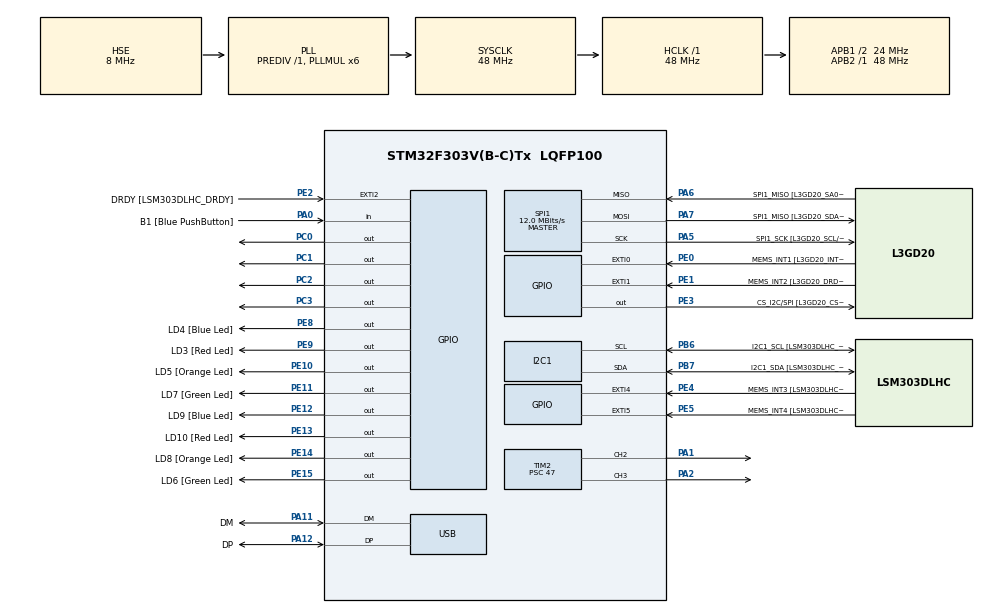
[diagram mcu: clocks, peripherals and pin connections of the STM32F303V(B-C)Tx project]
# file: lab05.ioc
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I2C1.Timing=0x00201D2B
I2C1.Timing-I2C=0x2000090E
Mcu.Family=STM32F3
Mcu.Name=STM32F303V(B-C)Tx
Mcu.Package=LQFP100
NVIC.PriorityGroup=NVIC_PRIORITYGROUP_0
PA0.GPIO_Label=B1 [Blue PushButton]
PA0.Signal=GPIO_Input
PA1.Signal=S_TIM2_CH2
PA11.GPIO_Label=DM
PA11.Mode=Device
PA11.Signal=USB_DM
PA12.GPIO_Label=DP
PA12.Mode=Device
PA12.Signal=USB_DP
PA13.GPIO_Label=SWDIO
PA13.Mode=Serial_Wire
PA13.Signal=SYS_JTMS-SWDIO
PA14.GPIO_Label=SWCLK
PA14.Mode=Serial_Wire
PA14.Signal=SYS_JTCK-SWCLK
PA2.Signal=S_TIM2_CH3
PA5.GPIO_Label=SPI1_SCK [L3GD20_SCL/SPC]
PA5.Mode=Full_Duplex_Master
PA5.Signal=SPI1_SCK
PA6.GPIO_Label=SPI1_MISO [L3GD20_SA0/SDO]
PA6.Mode=Full_Duplex_Master
PA6.Signal=SPI1_MISO
PA7.GPIO_Label=SPI1_MISO [L3GD20_SDA/SDI/SDO]
PA7.Mode=Full_Duplex_Master
PA7.Signal=SPI1_MOSI
PB3.GPIO_Label=SWO
PB3.Signal=SYS_JTDO-TRACESWO
PB6.GPIO_Label=I2C1_SCL [LSM303DLHC_SCL]
PB6.GPIO_Pu=GPIO_PULLUP
PB6.Mode=I2C
PB6.Signal=I2C1_SCL
PB7.GPIO_Label=I2C1_SDA [LSM303DLHC_SDA]
PB7.GPIO_Pu=GPIO_PULLUP
PB7.Mode=I2C
PB7.Signal=I2C1_SDA
PC0.Signal=GPIO_Output
PC1.Signal=GPIO_Output
PC14-OSC32_IN.GPIO_Label=OSC32_IN
PC14-OSC32_IN.Signal=RCC_OSC32_IN
PC15-OSC32_OUT.GPIO_Label=OSC32_OUT
PC15-OSC32_OUT.Signal=RCC_OSC32_OUT
PC2.Signal=GPIO_Output
PC3.Signal=GPIO_Output
PE0.GPIO_Label=MEMS_INT1 [L3GD20_INT1]
PE0.GPIO_ModeDefaultEXTI=GPIO_MODE_EVT_RISING
PE0.Signal=GPXTI0
PE1.GPIO_Label=MEMS_INT2 [L3GD20_DRDY/INT2]
PE1.GPIO_ModeDefaultEXTI=GPIO_MODE_EVT_RISING
PE1.Signal=GPXTI1
PE10.GPIO_Label=LD5 [Orange Led]
PE10.Signal=GPIO_Output
PE11.GPIO_Label=LD7 [Green Led]
PE11.Signal=GPIO_Output
PE12.GPIO_Label=LD9 [Blue Led]
PE12.Signal=GPIO_Output
PE13.GPIO_Label=LD10 [Red Led]
PE13.Signal=GPIO_Output
PE14.GPIO_Label=LD8 [Orange Led]
PE14.Signal=GPIO_Output
PE15.GPIO_Label=LD6 [Green Led]
PE15.Signal=GPIO_Output
PE2.GPIO_Label=DRDY [LSM303DLHC_DRDY]
PE2.GPIO_ModeDefaultEXTI=GPIO_MODE_EVT_RISING
PE2.Signal=GPXTI2
PE3.GPIO_Label=CS_I2C/SPI [L3GD20_CS_I2C/SPI]
PE3.Signal=GPIO_Output
PE4.GPIO_Label=MEMS_INT3 [LSM303DLHC_INT1]
PE4.GPIO_ModeDefaultEXTI=GPIO_MODE_EVT_RISING
PE4.Signal=GPXTI4
PE5.GPIO_Label=MEMS_INT4 [LSM303DLHC_INT2]
PE5.GPIO_ModeDefaultEXTI=GPIO_MODE_EVT_RISING
PE5.Signal=GPXTI5
PE8.GPIO_Label=LD4 [Blue Led]
PE8.Signal=GPIO_Output
PE9.GPIO_Label=LD3 [Red Led]
PE9.Signal=GPIO_Output
PF0-OSC_IN.GPIO_Label=OSC_IN
PF0-OSC_IN.Mode=HSE-External-Clock-Source
PF0-OSC_IN.Signal=RCC_OSC_IN
PF1-OSC_OUT.GPIO_Label=OSC_OUT
PF1-OSC_OUT.Signal=RCC_OSC_OUT
ProjectManager.HeapSize=0x200
ProjectManager.StackSize=0x400
ProjectManager.TargetToolchain=CMake
RCC.AHBFreq_Value=48000000
RCC.APB1CLKDivider=RCC_HCLK_DIV2
RCC.APB1Freq_Value=24000000
RCC.APB1TimFreq_Value=48000000
RCC.APB2Freq_Value=48000000
RCC.APB2TimFreq_Value=48000000
RCC.CortexFreq_Value=48000000
RCC.HCLKFreq_Value=48000000
RCC.HSE_VALUE=8000000
RCC.HSI_VALUE=8000000
RCC.LSE_VALUE=32768
RCC.PLLMUL=RCC_PLL_MUL6
RCC.SYSCLKFreq_VALUE=48000000
RCC.SYSCLKSourceVirtual=RCC_SYSCLKSOURCE_PLLCLK
RCC.USBFreq_Value=48000000
SH.S_TIM2_CH2.0=TIM2_CH2,PWM Generation2 CH2
SH.S_TIM2_CH3.0=TIM2_CH3,PWM Generation3 CH3
SPI1.BaudRatePrescaler=SPI_BAUDRATEPRESCALER_4
SPI1.BaudRatePrescaler-Full_Duplex_Master=SPI_BAUDRATEPRESCALER_2
SPI1.CalculateBaudRate=12.0 MBits/s
SPI1.CalculateBaudRate-Full_Duplex_Master=24.0 MBits/s
SPI1.Direction=SPI_DIRECTION_2LINES
SPI1.Mode=SPI_MODE_MASTER
SPI1.Mode-Full_Duplex_Master=SPI_MODE_MASTER
SPI1.VirtualType=VM_MASTER
TIM2.Channel-PWM\ Generation2\ CH2=TIM_CHANNEL_2
TIM2.Channel-PWM\ Generation3\ CH3=TIM_CHANNEL_3
TIM2.Prescaler=47
board=STM32F3DISCOVERY

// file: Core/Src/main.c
/* USER CODE BEGIN Header */
/**
  ******************************************************************************
  * @file           : main.c
  * @brief          : Main program body
  ******************************************************************************
  * @attention
  *
  * Copyright (c) 2026 STMicroelectronics.
  * All rights reserved.
  *
  ******************************************************************************
  */
/* USER CODE END Header */
#include "main.h"

/* USER CODE BEGIN PTD */

// Define clear states for motor direction
typedef enum {
    MOTOR_STOP = 0,
    MOTOR_FWD  = 1,
    MOTOR_REV  = 2
} MotorState_t;

/* USER CODE END PTD */

I2C_HandleTypeDef hi2c1;
SPI_HandleTypeDef hspi1;
TIM_HandleTypeDef htim2;
PCD_HandleTypeDef hpcd_USB_FS;

void SystemClock_Config(void);
static void MX_GPIO_Init(void);
static void MX_I2C1_Init(void);
static void MX_SPI1_Init(void);
static void MX_TIM2_Init(void);
static void MX_USB_PCD_Init(void);

/* USER CODE BEGIN PFP */
// New Driver Function Prototypes
void Motor_Left_Control(MotorState_t state, uint8_t speed_percent);
void Motor_Right_Control(MotorState_t state, uint8_t speed_percent);
void Robot_Stop_All(void);
/* USER CODE END PFP */

/* USER CODE BEGIN 0 */
// (User code section 0 is empty now because we moved logic to functions below)
/* USER CODE END 0 */

int main(void)
{

  /* MCU Configuration--------------------------------------------------------*/

  /* Reset of all peripherals, Initializes the Flash interface and the Systick. */
  HAL_Init();

  /* Configure the system clock */
  SystemClock_Config();

  /* Initialize all configured peripherals */
  MX_GPIO_Init();
  MX_I2C1_Init();
  MX_SPI1_Init();
  MX_TIM2_Init();
  MX_USB_PCD_Init();

  /* USER CODE BEGIN 2 */
  // 1. Start PWM Signals for Motor Speed Control
  HAL_TIM_PWM_Start(&htim2, TIM_CHANNEL_2); // Left Motor (Former Motor A)
  HAL_TIM_PWM_Start(&htim2, TIM_CHANNEL_3); // Right Motor (Former Motor B)

  // 2. Ensure Robot is stopped on boot
  Robot_Stop_All();
  /* USER CODE END 2 */

  /* Infinite loop */
  while (1)
  {

    /* USER CODE BEGIN 3 */

    // --- TEST SEQUENCE START ---

    // 1. Drive Forward (Slow -> 40%)
    Motor_Left_Control(MOTOR_FWD, 40);
    Motor_Right_Control(MOTOR_FWD, 40);
    HAL_Delay(2000);

      // 3. Stop
    Robot_Stop_All();
    HAL_Delay(1000);

    // 4. Drive Reverse (60%)
    Motor_Left_Control(MOTOR_REV, 60);
    Motor_Right_Control(MOTOR_REV, 60);
    HAL_Delay(2000);

    // 7. Tank Turn Left (Left Rev, Right Fwd)
    Motor_Left_Control(MOTOR_REV, 50);
    Motor_Right_Control(MOTOR_FWD, 50);
    HAL_Delay(1000);

    // 5. Stop
    Robot_Stop_All();
    HAL_Delay(500);

    // 6. Tank Turn Right (Left Fwd, Right Rev)
    Motor_Left_Control(MOTOR_FWD, 50);
    Motor_Right_Control(MOTOR_REV, 50);
    HAL_Delay(1000);

    // 2. Drive Forward (Fast -> 80%)
    Motor_Left_Control(MOTOR_FWD, 80);
    Motor_Right_Control(MOTOR_FWD, 80);
    HAL_Delay(2000);

    // 8. Final Stop before repeating
    Robot_Stop_All();
    HAL_Delay(2000);

    // --- TEST SEQUENCE END ---
  }
  /* USER CODE END 3 */
}

void SystemClock_Config(void)
{
  RCC_OscInitTypeDef RCC_OscInitStruct = {0};
  RCC_ClkInitTypeDef RCC_ClkInitStruct = {0};
  RCC_PeriphCLKInitTypeDef PeriphClkInit = {0};

  /** Initializes the RCC Oscillators according to the specified parameters
  * in the RCC_OscInitTypeDef structure.
  */
  RCC_OscInitStruct.OscillatorType = RCC_OSCILLATORTYPE_HSI|RCC_OSCILLATORTYPE_HSE;
  RCC_OscInitStruct.HSEState = RCC_HSE_BYPASS;
  RCC_OscInitStruct.HSEPredivValue = RCC_HSE_PREDIV_DIV1;
  RCC_OscInitStruct.HSIState = RCC_HSI_ON;
  RCC_OscInitStruct.HSICalibrationValue = RCC_HSICALIBRATION_DEFAULT;
  RCC_OscInitStruct.PLL.PLLState = RCC_PLL_ON;
  RCC_OscInitStruct.PLL.PLLSource = RCC_PLLSOURCE_HSE;
  RCC_OscInitStruct.PLL.PLLMUL = RCC_PLL_MUL6;
  if (HAL_RCC_OscConfig(&RCC_OscInitStruct) != HAL_OK)
  {
    Error_Handler();
  }

  /** Initializes the CPU, AHB and APB buses clocks
  */
  RCC_ClkInitStruct.ClockType = RCC_CLOCKTYPE_HCLK|RCC_CLOCKTYPE_SYSCLK
                              |RCC_CLOCKTYPE_PCLK1|RCC_CLOCKTYPE_PCLK2;
  RCC_ClkInitStruct.SYSCLKSource = RCC_SYSCLKSOURCE_PLLCLK;
  RCC_ClkInitStruct.AHBCLKDivider = RCC_SYSCLK_DIV1;
  RCC_ClkInitStruct.APB1CLKDivider = RCC_HCLK_DIV2;
  RCC_ClkInitStruct.APB2CLKDivider = RCC_HCLK_DIV1;

  if (HAL_RCC_ClockConfig(&RCC_ClkInitStruct, FLASH_LATENCY_1) != HAL_OK)
  {
    Error_Handler();
  }
  PeriphClkInit.PeriphClockSelection = RCC_PERIPHCLK_USB|RCC_PERIPHCLK_I2C1;
  PeriphClkInit.I2c1ClockSelection = RCC_I2C1CLKSOURCE_HSI;
  PeriphClkInit.USBClockSelection = RCC_USBCLKSOURCE_PLL;
  if (HAL_RCCEx_PeriphCLKConfig(&PeriphClkInit) != HAL_OK)
  {
    Error_Handler();
  }
}

/* ... [MX Init functions for I2C, SPI, TIM, USB, GPIO] ... */
/* NOTE: To save space, I have collapsed standard MX functions.
   They are identical to your original code.
   If you need them pasted here, let me know.
   Ensure MX_TIM2_Init, MX_GPIO_Init are present in your file. */

static void MX_I2C1_Init(void)
{
  hi2c1.Instance = I2C1;
  hi2c1.Init.Timing = 0x00201D2B;
  hi2c1.Init.OwnAddress1 = 0;
  hi2c1.Init.AddressingMode = I2C_ADDRESSINGMODE_7BIT;
  hi2c1.Init.DualAddressMode = I2C_DUALADDRESS_DISABLE;
  hi2c1.Init.OwnAddress2 = 0;
  hi2c1.Init.OwnAddress2Masks = I2C_OA2_NOMASK;
  hi2c1.Init.GeneralCallMode = I2C_GENERALCALL_DISABLE;
  hi2c1.Init.NoStretchMode = I2C_NOSTRETCH_DISABLE;
  if (HAL_I2C_Init(&hi2c1) != HAL_OK)
  {
    Error_Handler();
  }
  if (HAL_I2CEx_ConfigAnalogFilter(&hi2c1, I2C_ANALOGFILTER_ENABLE) != HAL_OK)
  {
    Error_Handler();
  }
  if (HAL_I2CEx_ConfigDigitalFilter(&hi2c1, 0) != HAL_OK)
  {
    Error_Handler();
  }
}

static void MX_SPI1_Init(void)
{
  hspi1.Instance = SPI1;
  hspi1.Init.Mode = SPI_MODE_MASTER;
  hspi1.Init.Direction = SPI_DIRECTION_2LINES;
  hspi1.Init.DataSize = SPI_DATASIZE_4BIT;
  hspi1.Init.CLKPolarity = SPI_POLARITY_LOW;
  hspi1.Init.CLKPhase = SPI_PHASE_1EDGE;
  hspi1.Init.NSS = SPI_NSS_SOFT;
  hspi1.Init.BaudRatePrescaler = SPI_BAUDRATEPRESCALER_4;
  hspi1.Init.FirstBit = SPI_FIRSTBIT_MSB;
  hspi1.Init.TIMode = SPI_TIMODE_DISABLE;
  hspi1.Init.CRCCalculation = SPI_CRCCALCULATION_DISABLE;
  hspi1.Init.CRCPolynomial = 7;
  hspi1.Init.CRCLength = SPI_CRC_LENGTH_DATASIZE;
  hspi1.Init.NSSPMode = SPI_NSS_PULSE_ENABLE;
  if (HAL_SPI_Init(&hspi1) != HAL_OK)
  {
    Error_Handler();
  }
}

static void MX_TIM2_Init(void)
{
  TIM_MasterConfigTypeDef sMasterConfig = {0};
  TIM_OC_InitTypeDef sConfigOC = {0};

  htim2.Instance = TIM2;
  htim2.Init.Prescaler = 47;
  htim2.Init.CounterMode = TIM_COUNTERMODE_UP;
  htim2.Init.Period = 999;
  htim2.Init.ClockDivision = TIM_CLOCKDIVISION_DIV1;
  htim2.Init.AutoReloadPreload = TIM_AUTORELOAD_PRELOAD_DISABLE;
  if (HAL_TIM_PWM_Init(&htim2) != HAL_OK)
  {
    Error_Handler();
  }
  sMasterConfig.MasterOutputTrigger = TIM_TRGO_RESET;
  sMasterConfig.MasterSlaveMode = TIM_MASTERSLAVEMODE_DISABLE;
  if (HAL_TIMEx_MasterConfigSynchronization(&htim2, &sMasterConfig) != HAL_OK)
  {
    Error_Handler();
  }
  sConfigOC.OCMode = TIM_OCMODE_PWM1;
  sConfigOC.Pulse = 0;
  sConfigOC.OCPolarity = TIM_OCPOLARITY_HIGH;
  sConfigOC.OCFastMode = TIM_OCFAST_DISABLE;
  if (HAL_TIM_PWM_ConfigChannel(&htim2, &sConfigOC, TIM_CHANNEL_1) != HAL_OK)
  {
    Error_Handler();
  }
  if (HAL_TIM_PWM_ConfigChannel(&htim2, &sConfigOC, TIM_CHANNEL_2) != HAL_OK)
  {
    Error_Handler();
  }
  if (HAL_TIM_PWM_ConfigChannel(&htim2, &sConfigOC, TIM_CHANNEL_3) != HAL_OK)
  {
    Error_Handler();
  }
  HAL_TIM_MspPostInit(&htim2);
}

static void MX_USB_PCD_Init(void)
{
  hpcd_USB_FS.Instance = USB;
  hpcd_USB_FS.Init.dev_endpoints = 8;
  hpcd_USB_FS.Init.speed = PCD_SPEED_FULL;
  hpcd_USB_FS.Init.phy_itface = PCD_PHY_EMBEDDED;
  hpcd_USB_FS.Init.low_power_enable = DISABLE;
  hpcd_USB_FS.Init.battery_charging_enable = DISABLE;
  if (HAL_PCD_Init(&hpcd_USB_FS) != HAL_OK)
  {
    Error_Handler();
  }
}

static void MX_GPIO_Init(void)
{
  GPIO_InitTypeDef GPIO_InitStruct = {0};

  /* GPIO Ports Clock Enable */
  __HAL_RCC_GPIOE_CLK_ENABLE();
  __HAL_RCC_GPIOC_CLK_ENABLE();
  __HAL_RCC_GPIOF_CLK_ENABLE();
  __HAL_RCC_GPIOA_CLK_ENABLE();
  __HAL_RCC_GPIOB_CLK_ENABLE();

  /*Configure GPIO pin Output Level */
  HAL_GPIO_WritePin(GPIOE, CS_I2C_SPI_Pin|LD4_Pin|LD3_Pin|LD5_Pin
                          |LD7_Pin|LD9_Pin|LD10_Pin|LD8_Pin
                          |LD6_Pin, GPIO_PIN_RESET);

  /*Configure GPIO pin Output Level for Motor Control Pins */
  HAL_GPIO_WritePin(GPIOC, GPIO_PIN_0|GPIO_PIN_1|GPIO_PIN_2|GPIO_PIN_3, GPIO_PIN_RESET);

  /*Configure GPIO pins : PC0 PC1 PC2 PC3 */
  GPIO_InitStruct.Pin = GPIO_PIN_0|GPIO_PIN_1|GPIO_PIN_2|GPIO_PIN_3;
  GPIO_InitStruct.Mode = GPIO_MODE_OUTPUT_PP;
  GPIO_InitStruct.Pull = GPIO_NOPULL;
  GPIO_InitStruct.Speed = GPIO_SPEED_FREQ_LOW;
  HAL_GPIO_Init(GPIOC, &GPIO_InitStruct);

  /*Configure GPIO pins : DRDY_Pin MEMS_INT3_Pin MEMS_INT4_Pin MEMS_INT1_Pin
                           MEMS_INT2_Pin */
  GPIO_InitStruct.Pin = DRDY_Pin|MEMS_INT3_Pin|MEMS_INT4_Pin|MEMS_INT1_Pin
                          |MEMS_INT2_Pin;
  GPIO_InitStruct.Mode = GPIO_MODE_EVT_RISING;
  GPIO_InitStruct.Pull = GPIO_NOPULL;
  HAL_GPIO_Init(GPIOE, &GPIO_InitStruct);

  /*Configure GPIO pins : CS_I2C_SPI_Pin LD4_Pin LD3_Pin LD5_Pin
                           LD7_Pin LD9_Pin LD10_Pin LD8_Pin
                           LD6_Pin */
  GPIO_InitStruct.Pin = CS_I2C_SPI_Pin|LD4_Pin|LD3_Pin|LD5_Pin
                          |LD7_Pin|LD9_Pin|LD10_Pin|LD8_Pin
                          |LD6_Pin;
  GPIO_InitStruct.Mode = GPIO_MODE_OUTPUT_PP;
  GPIO_InitStruct.Pull = GPIO_NOPULL;
  GPIO_InitStruct.Speed = GPIO_SPEED_FREQ_LOW;
  HAL_GPIO_Init(GPIOE, &GPIO_InitStruct);

  /*Configure GPIO pin : B1_Pin */
  GPIO_InitStruct.Pin = B1_Pin;
  GPIO_InitStruct.Mode = GPIO_MODE_INPUT;
  GPIO_InitStruct.Pull = GPIO_NOPULL;
  HAL_GPIO_Init(B1_GPIO_Port, &GPIO_InitStruct);
}

/* USER CODE BEGIN 4 */

// ==================== MOTOR CONTROL FUNCTIONS ====================

/**
 * @brief  Controls the Left Motor (Was Motor A)
 * @param  state: MOTOR_STOP, MOTOR_FWD, or MOTOR_REV
 * @param  speed_percent: 0 to 100
 * @note   Controls GPIOC Pin 0, Pin 1 and TIM2 Channel 2
 */
void Motor_Left_Control(MotorState_t state, uint8_t speed_percent)
{
    // 1. Set Direction Pins
    switch (state)
    {
    case MOTOR_FWD:
        HAL_GPIO_WritePin(GPIOC, GPIO_PIN_0, GPIO_PIN_SET);
        HAL_GPIO_WritePin(GPIOC, GPIO_PIN_1, GPIO_PIN_RESET);
        break;
    case MOTOR_REV:
        HAL_GPIO_WritePin(GPIOC, GPIO_PIN_0, GPIO_PIN_RESET);
        HAL_GPIO_WritePin(GPIOC, GPIO_PIN_1, GPIO_PIN_SET);
        break;
    case MOTOR_STOP:
    default:
        HAL_GPIO_WritePin(GPIOC, GPIO_PIN_0, GPIO_PIN_RESET);
        HAL_GPIO_WritePin(GPIOC, GPIO_PIN_1, GPIO_PIN_RESET);
        break;
    }

    // 2. Set PWM Speed
    if (speed_percent > 100) speed_percent = 100;

    // Calculate PWM Pulse (0 to 999) based on percent
    // If state is STOP, force PWM to 0, otherwise use calculated value
    uint16_t pulse = (state == MOTOR_STOP) ? 0 : (speed_percent * 999) / 100;

    __HAL_TIM_SET_COMPARE(&htim2, TIM_CHANNEL_2, pulse);
}

/**
 * @brief  Controls the Right Motor (Was Motor B)
 * @param  state: MOTOR_STOP, MOTOR_FWD, or MOTOR_REV
 * @param  speed_percent: 0 to 100
 * @note   Controls GPIOC Pin 2, Pin 3 and TIM2 Channel 3
 */
void Motor_Right_Control(MotorState_t state, uint8_t speed_percent)
{
    // 1. Set Direction Pins
    switch (state)
    {
    case MOTOR_FWD:
        HAL_GPIO_WritePin(GPIOC, GPIO_PIN_2, GPIO_PIN_SET);
        HAL_GPIO_WritePin(GPIOC, GPIO_PIN_3, GPIO_PIN_RESET);
        break;
    case MOTOR_REV:
        HAL_GPIO_WritePin(GPIOC, GPIO_PIN_2, GPIO_PIN_RESET);
        HAL_GPIO_WritePin(GPIOC, GPIO_PIN_3, GPIO_PIN_SET);
        break;
    case MOTOR_STOP:
    default:
        HAL_GPIO_WritePin(GPIOC, GPIO_PIN_2, GPIO_PIN_RESET);
        HAL_GPIO_WritePin(GPIOC, GPIO_PIN_3, GPIO_PIN_RESET);
        break;
    }

    // 2. Set PWM Speed
    if (speed_percent > 100) speed_percent = 100;

    uint16_t pulse = (state == MOTOR_STOP) ? 0 : (speed_percent * 999) / 100;

    __HAL_TIM_SET_COMPARE(&htim2, TIM_CHANNEL_3, pulse);
}

/**
 * @brief  Helper function to stop both motors immediately
 */
void Robot_Stop_All(void)
{
    Motor_Left_Control(MOTOR_STOP, 0);
    Motor_Right_Control(MOTOR_STOP, 0);
}

/* USER CODE END 4 */

void Error_Handler(void)
{
  __disable_irq();
  while (1)
  {
  }
}
